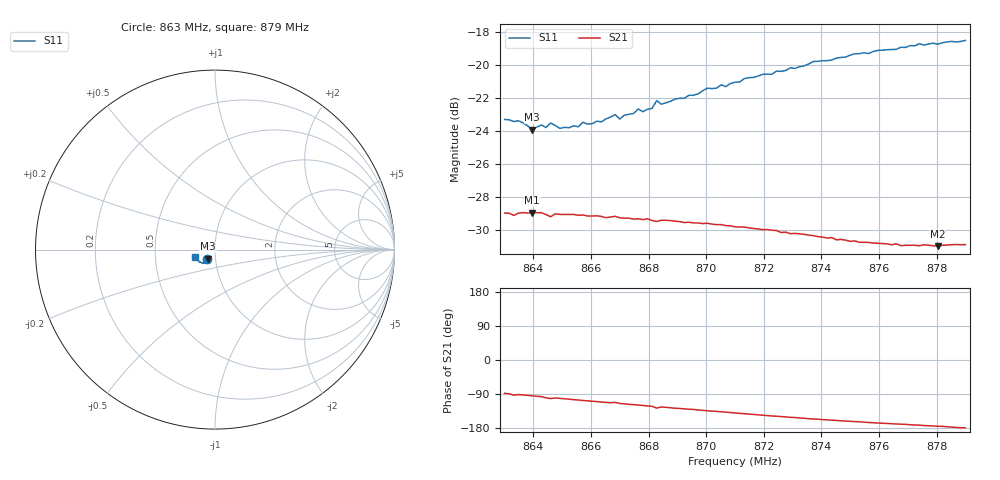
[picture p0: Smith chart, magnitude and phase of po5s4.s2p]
# HZ S RI R 50
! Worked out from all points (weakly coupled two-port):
!   101 points, 863 MHz to 879 MHz, reference 50 ohm
!   highest |S21| = -28.94 dB at 863.96 MHz (marker M1); lowest = -31.0 dB at 878.04 MHz (marker M2)
!   lowest |S11| = -23.9 dB at 863.96 MHz (marker M3), VSWR 1.14, Z = 46 - j4.68 ohm
!   |S11| at or under -10 dB: start of sweep to end of sweep
!   S12 and S22 are empty: the file has one direction only
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8.63e8  -0.0439 -0.0526  0.0013 -0.0356  0 0  0 0
8.6348e8  -0.0422 -0.0531  -0.000721 -0.0356  0 0  0 0
8.6396e8  -0.0388 -0.0506  -0.00278 -0.0356  0 0  0 0
8.6428e8  -0.0364 -0.0549  -0.00414 -0.0355  0 0  0 0
8.6444e8  -0.0364 -0.0535  -0.00601 -0.0347  0 0  0 0
8.646e8  -0.038 -0.0549  -0.00705 -0.034  0 0  0 0
8.6492e8  -0.0349 -0.0541  -0.0069 -0.0346  0 0  0 0
8.6556e8  -0.0334 -0.0558  -0.00949 -0.0337  0 0  0 0
8.6572e8  -0.033 -0.0584  -0.0102 -0.0336  0 0  0 0
8.6636e8  -0.0329 -0.0587  -0.0125 -0.0324  0 0  0 0
8.6684e8  -0.0339 -0.0622  -0.0129 -0.0324  0 0  0 0
8.67e8  -0.0321 -0.0607  -0.0144 -0.0313  0 0  0 0
8.6764e8  -0.0344 -0.0652  -0.0165 -0.03  0 0  0 0
8.678e8  -0.0339 -0.0638  -0.0171 -0.0294  0 0  0 0
8.6812e8  -0.0342 -0.0656  -0.018 -0.0286  0 0  0 0
8.6828e8  -0.038 -0.0682  -0.0202 -0.0269  0 0  0 0
8.6844e8  -0.0352 -0.0675  -0.0189 -0.0281  0 0  0 0
8.71e8  -0.0488 -0.0742  -0.0247 -0.0209  0 0  0 0
8.7372e8  -0.0689 -0.0761  -0.0277 -0.0126  0 0  0 0
8.7644e8  -0.0925 -0.0624  -0.0279 -0.00584  0 0  0 0
8.7804e8  -0.1044 -0.0501  -0.0282 -0.00252  0 0  0 0
8.79e8  -0.1121 -0.0395  -0.0286 -0.000485  0 0  0 0
